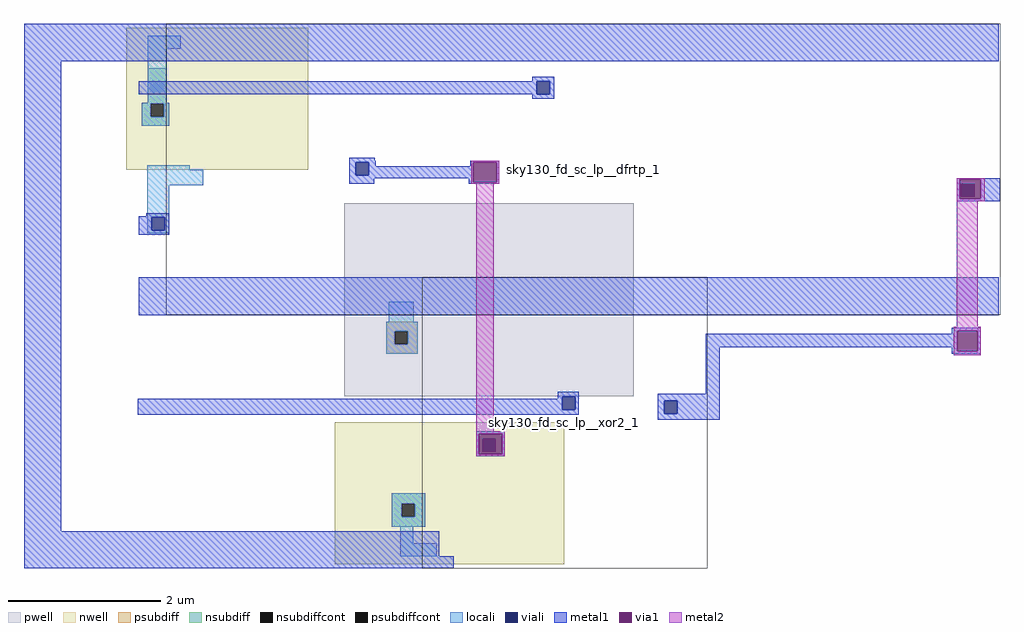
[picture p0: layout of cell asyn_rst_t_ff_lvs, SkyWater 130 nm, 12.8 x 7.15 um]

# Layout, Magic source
magic
tech sky130A
magscale 1 2
<< nwell >>
rect 787 330 1265 703
rect 1334 -705 1937 -332
<< pwell >>
rect 1359 -264 2119 242
<< psubdiff >>
rect 1470 -94 1552 -68
rect 1470 -128 1492 -94
rect 1526 -128 1552 -94
rect 1470 -152 1552 -128
<< nsubdiff >>
rect 844 506 894 596
rect 828 504 900 506
rect 828 470 852 504
rect 886 470 900 504
rect 828 446 900 470
rect 1484 -546 1572 -518
rect 1484 -580 1510 -546
rect 1544 -580 1572 -546
rect 1484 -606 1572 -580
<< psubdiffcont >>
rect 1492 -128 1526 -94
<< nsubdiffcont >>
rect 852 470 886 504
rect 1510 -580 1544 -546
<< locali >>
rect 844 648 930 682
rect 844 506 894 648
rect 828 504 900 506
rect 828 470 852 504
rect 886 470 900 504
rect 828 446 900 470
rect 842 330 954 342
rect 842 289 990 330
rect 842 206 900 289
rect 842 172 854 206
rect 888 172 900 206
rect 842 164 900 172
rect 1476 -68 1542 -16
rect 1470 -94 1552 -68
rect 1470 -128 1492 -94
rect 1526 -128 1552 -94
rect 1470 -152 1552 -128
rect 1484 -546 1572 -518
rect 1484 -580 1510 -546
rect 1544 -580 1572 -546
rect 1484 -606 1572 -580
rect 1506 -650 1540 -606
rect 1506 -684 1602 -650
<< viali >>
rect 1864 528 1898 562
rect 1389 316 1423 350
rect 2978 260 3014 294
rect 854 172 888 206
rect 1931 -300 1965 -266
rect 2199 -310 2233 -276
rect 1723 -410 1757 -376
<< metal1 >>
rect 581 713 1609 714
rect 519 615 3077 713
rect 519 -618 617 615
rect 1852 562 1910 574
rect 820 528 1864 562
rect 1898 528 1910 562
rect 1852 516 1910 528
rect 1372 354 1440 362
rect 1372 350 1442 354
rect 1372 316 1389 350
rect 1423 340 1442 350
rect 1690 350 1766 354
rect 1690 340 1698 350
rect 1423 316 1698 340
rect 1372 308 1698 316
rect 1372 294 1438 308
rect 1686 298 1698 308
rect 1760 298 1766 350
rect 1686 294 1766 298
rect 2966 306 3080 308
rect 2966 254 2974 306
rect 3030 254 3080 306
rect 2966 248 3080 254
rect 840 208 900 216
rect 820 206 900 208
rect 820 172 854 206
rect 888 172 900 206
rect 820 160 900 172
rect 820 -51 3077 48
rect 2954 -92 3030 -84
rect 2954 -100 2968 -92
rect 2308 -136 2968 -100
rect 1920 -266 1974 -252
rect 2308 -258 2344 -136
rect 2954 -146 2968 -136
rect 3022 -146 3030 -92
rect 2954 -152 3030 -146
rect 1920 -270 1931 -266
rect 817 -300 1931 -270
rect 1965 -300 1974 -266
rect 817 -312 1974 -300
rect 2182 -276 2344 -258
rect 2182 -310 2199 -276
rect 2233 -310 2344 -276
rect 2182 -326 2344 -310
rect 1706 -362 1780 -356
rect 1706 -416 1712 -362
rect 1774 -416 1780 -362
rect 1706 -422 1780 -416
rect 519 -684 1609 -618
rect 519 -716 1646 -684
<< via1 >>
rect 1698 298 1760 350
rect 2974 294 3030 306
rect 2974 260 2978 294
rect 2978 260 3014 294
rect 3014 260 3030 294
rect 2974 254 3030 260
rect 2968 -146 3022 -92
rect 1712 -376 1774 -362
rect 1712 -410 1723 -376
rect 1723 -410 1757 -376
rect 1757 -410 1774 -376
rect 1712 -416 1774 -410
<< metal2 >>
rect 1692 350 1766 354
rect 1692 298 1698 350
rect 1760 298 1766 350
rect 1692 294 1766 298
rect 2966 306 3040 308
rect 1706 -356 1752 294
rect 2966 254 2974 306
rect 3030 254 3040 306
rect 2966 248 3040 254
rect 2966 -82 3022 248
rect 2958 -92 3030 -82
rect 2958 -146 2968 -92
rect 3022 -146 3030 -92
rect 2958 -156 3030 -146
rect 1706 -362 1780 -356
rect 1706 -416 1712 -362
rect 1774 -416 1780 -362
rect 1706 -422 1780 -416
use sky130_fd_sc_lp__dfrtp_1  sky130_fd_sc_lp__dfrtp_1_1 ~/sky130A/libs.ref/sky130_fd_sc_lp/mag
transform 1 0 930 0 1 -1
box -38 -49 2150 715
use sky130_fd_sc_lp__xor2_1  sky130_fd_sc_lp__xor2_1_1 ~/sky130A/libs.ref/sky130_fd_sc_lp/mag
transform -1 0 2274 0 -1 -1
box -38 -49 710 715
use sky130_fd_sc_lp__dfrtp_1  sky130_fd_sc_lp__dfrtp_1_0
transform 1 0 930 0 1 -1
box -38 -49 2150 715
use sky130_fd_sc_lp__xor2_1  sky130_fd_sc_lp__xor2_1_0
transform -1 0 2274 0 -1 -1
box -38 -49 710 715
use sky130_fd_sc_lp__dfrtp_1  sky130_fd_sc_lp__dfrtp_1_2
transform 1 0 930 0 1 -1
box -38 -49 2150 715
use sky130_fd_sc_lp__xor2_1  sky130_fd_sc_lp__xor2_1_2
transform -1 0 2274 0 -1 -1
box -38 -49 710 715
use sky130_fd_sc_lp__dfrtp_1  sky130_fd_sc_lp__dfrtp_1_3
transform 1 0 930 0 1 -1
box -38 -49 2150 715
use sky130_fd_sc_lp__xor2_1  sky130_fd_sc_lp__xor2_1_3
transform -1 0 2274 0 -1 -1
box -38 -49 710 715
<< end >>
